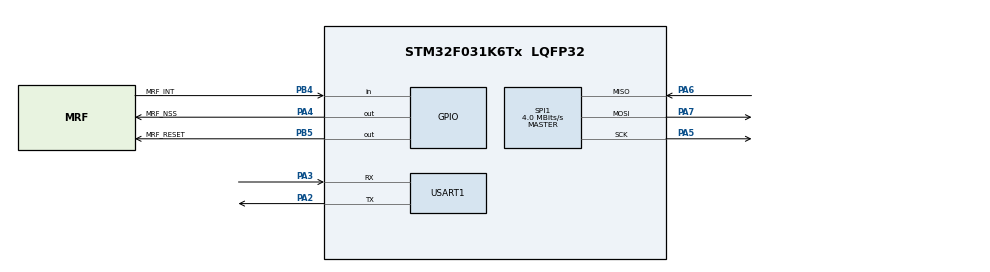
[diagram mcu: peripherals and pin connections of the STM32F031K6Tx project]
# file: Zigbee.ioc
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Mcu.Family=STM32F0
Mcu.Name=STM32F031K6Tx
Mcu.Package=LQFP32
PA2.Mode=Asynchronous
PA2.Signal=USART1_TX
PA3.Mode=Asynchronous
PA3.Signal=USART1_RX
PA4.GPIO_Label=MRF_NSS
PA4.GPIO_ModeDefaultOutputPP=GPIO_MODE_OUTPUT_PP
PA4.GPIO_PuPd=GPIO_PULLUP
PA4.GPIO_Speed=GPIO_SPEED_FREQ_LOW
PA4.PinState=GPIO_PIN_SET
PA4.Signal=GPIO_Output
PA5.Mode=Full_Duplex_Master
PA5.Signal=SPI1_SCK
PA6.Mode=Full_Duplex_Master
PA6.Signal=SPI1_MISO
PA7.Mode=Full_Duplex_Master
PA7.Signal=SPI1_MOSI
PB4.GPIO_Label=MRF_INT
PB4.GPIO_PuPd=GPIO_PULLUP
PB4.Signal=GPIO_Input
PB5.GPIO_Label=MRF_RESET
PB5.GPIO_PuPd=GPIO_PULLUP
PB5.PinState=GPIO_PIN_SET
PB5.Signal=GPIO_Output
ProjectManager.HeapSize=0x200
ProjectManager.StackSize=0x400
ProjectManager.TargetToolchain=STM32CubeIDE
SPI1.CalculateBaudRate=4.0 MBits/s
SPI1.DataSize=SPI_DATASIZE_8BIT
SPI1.Direction=SPI_DIRECTION_2LINES
SPI1.Mode=SPI_MODE_MASTER
SPI1.VirtualType=VM_MASTER
USART1.VirtualMode-Asynchronous=VM_ASYNC
board=custom

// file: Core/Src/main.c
/* USER CODE BEGIN Header */
/**
  ******************************************************************************
  * @file           : main.c
  * @brief          : Main program body
  ******************************************************************************
  * @attention
  *
  * <h2><center>&copy; Copyright (c) 2020 STMicroelectronics.
  * All rights reserved.</center></h2>
  *
  * This software component is licensed by ST under BSD 3-Clause license,
  * the "License"; You may not use this file except in compliance with the
  * License. You may obtain a copy of the License at:
  *                        opensource.org/licenses/BSD-3-Clause
  *
  ******************************************************************************
  */
/* USER CODE END Header */
#include "main.h"

/* USER CODE BEGIN Includes */
#include <stdio.h>
#include <strings.h>
#include <stdint.h>
#include "lib_mrf24j.h"
#include "retarget.h"
/* USER CODE END Includes */

SPI_HandleTypeDef hspi1;

UART_HandleTypeDef huart1;

void SystemClock_Config(void);
static void MX_GPIO_Init(void);
static void MX_SPI1_Init(void);
static void MX_USART1_UART_Init(void);

int main(void)
{

  /* MCU Configuration--------------------------------------------------------*/

  /* Reset of all peripherals, Initializes the Flash interface and the Systick. */
  HAL_Init();

  /* Configure the system clock */
  SystemClock_Config();

  /* Initialize all configured peripherals */
  MX_GPIO_Init();
  MX_SPI1_Init();
  MX_USART1_UART_Init();

  /* USER CODE BEGIN 2 */
  // Initializing the MRF radio
  RetargetInit(&huart1);
  printf("Starting up...");
  mrf_deselect();
  mrf_init();

  mrf_pan_write(PAN_ID);

  if (MODE == 0){
	  printf("set as transmitter...");
	  mrf_address16_write((uint16_t) DEVICE_ID);
  }
  else{
	  printf("set as receiver...");
	  mrf_address16_write(0x0001);
	  mrf_set_ignorebytes(2);
  }
  printf("done!\n");
  /* USER CODE END 2 */

  /* Infinite loop */
  /* USER CODE BEGIN WHILE */
  while (1){

	if (MODE == 0){
		mrf_send16(0xFFFF, 1, (char) DEVICE_ID); // Sending a packet with only the device ID as data
		HAL_Delay(1000);
	} else{
		mrf_check_flags(&handle_rx, &handle_tx); // Calling the radio to check if a packet has come in.
		_delay_ms(10);

		HAL_Delay(200);
	}
	mrf_check_flags(&handle_rx, &handle_tx);
	if (HAL_GPIO_ReadPin(MRF_INT_GPIO_Port, MRF_INT_Pin) == 0){
		mrf_interrupt_handler();
	}
}
    /* USER CODE END WHILE */

}

void SystemClock_Config(void)
{
  RCC_OscInitTypeDef RCC_OscInitStruct = {0};
  RCC_ClkInitTypeDef RCC_ClkInitStruct = {0};
  RCC_PeriphCLKInitTypeDef PeriphClkInit = {0};

  /** Initializes the RCC Oscillators according to the specified parameters
  * in the RCC_OscInitTypeDef structure.
  */
  RCC_OscInitStruct.OscillatorType = RCC_OSCILLATORTYPE_HSI;
  RCC_OscInitStruct.HSIState = RCC_HSI_ON;
  RCC_OscInitStruct.HSICalibrationValue = RCC_HSICALIBRATION_DEFAULT;
  RCC_OscInitStruct.PLL.PLLState = RCC_PLL_NONE;
  if (HAL_RCC_OscConfig(&RCC_OscInitStruct) != HAL_OK)
  {
    Error_Handler();
  }
  /** Initializes the CPU, AHB and APB buses clocks
  */
  RCC_ClkInitStruct.ClockType = RCC_CLOCKTYPE_HCLK|RCC_CLOCKTYPE_SYSCLK
                              |RCC_CLOCKTYPE_PCLK1;
  RCC_ClkInitStruct.SYSCLKSource = RCC_SYSCLKSOURCE_HSI;
  RCC_ClkInitStruct.AHBCLKDivider = RCC_SYSCLK_DIV1;
  RCC_ClkInitStruct.APB1CLKDivider = RCC_HCLK_DIV1;

  if (HAL_RCC_ClockConfig(&RCC_ClkInitStruct, FLASH_LATENCY_0) != HAL_OK)
  {
    Error_Handler();
  }
  PeriphClkInit.PeriphClockSelection = RCC_PERIPHCLK_USART1;
  PeriphClkInit.Usart1ClockSelection = RCC_USART1CLKSOURCE_PCLK1;
  if (HAL_RCCEx_PeriphCLKConfig(&PeriphClkInit) != HAL_OK)
  {
    Error_Handler();
  }
}

static void MX_SPI1_Init(void)
{

  /* SPI1 parameter configuration*/
  hspi1.Instance = SPI1;
  hspi1.Init.Mode = SPI_MODE_MASTER;
  hspi1.Init.Direction = SPI_DIRECTION_2LINES;
  hspi1.Init.DataSize = SPI_DATASIZE_8BIT;
  hspi1.Init.CLKPolarity = SPI_POLARITY_LOW;
  hspi1.Init.CLKPhase = SPI_PHASE_1EDGE;
  hspi1.Init.NSS = SPI_NSS_SOFT;
  hspi1.Init.BaudRatePrescaler = SPI_BAUDRATEPRESCALER_2;
  hspi1.Init.FirstBit = SPI_FIRSTBIT_MSB;
  hspi1.Init.TIMode = SPI_TIMODE_DISABLE;
  hspi1.Init.CRCCalculation = SPI_CRCCALCULATION_DISABLE;
  hspi1.Init.CRCPolynomial = 7;
  hspi1.Init.CRCLength = SPI_CRC_LENGTH_DATASIZE;
  hspi1.Init.NSSPMode = SPI_NSS_PULSE_ENABLE;
  if (HAL_SPI_Init(&hspi1) != HAL_OK)
  {
    Error_Handler();
  }

}

static void MX_USART1_UART_Init(void)
{

  huart1.Instance = USART1;
  huart1.Init.BaudRate = 38400;
  huart1.Init.WordLength = UART_WORDLENGTH_8B;
  huart1.Init.StopBits = UART_STOPBITS_1;
  huart1.Init.Parity = UART_PARITY_NONE;
  huart1.Init.Mode = UART_MODE_TX_RX;
  huart1.Init.HwFlowCtl = UART_HWCONTROL_NONE;
  huart1.Init.OverSampling = UART_OVERSAMPLING_16;
  huart1.Init.OneBitSampling = UART_ONE_BIT_SAMPLE_DISABLE;
  huart1.AdvancedInit.AdvFeatureInit = UART_ADVFEATURE_NO_INIT;
  if (HAL_UART_Init(&huart1) != HAL_OK)
  {
    Error_Handler();
  }

}

static void MX_GPIO_Init(void)
{
  GPIO_InitTypeDef GPIO_InitStruct = {0};

  /* GPIO Ports Clock Enable */
  __HAL_RCC_GPIOA_CLK_ENABLE();
  __HAL_RCC_GPIOB_CLK_ENABLE();

  /*Configure GPIO pin Output Level */
  HAL_GPIO_WritePin(MRF_NSS_GPIO_Port, MRF_NSS_Pin, GPIO_PIN_SET);

  /*Configure GPIO pin Output Level */
  HAL_GPIO_WritePin(MRF_RESET_GPIO_Port, MRF_RESET_Pin, GPIO_PIN_SET);

  /*Configure GPIO pin : MRF_NSS_Pin */
  GPIO_InitStruct.Pin = MRF_NSS_Pin;
  GPIO_InitStruct.Mode = GPIO_MODE_OUTPUT_PP;
  GPIO_InitStruct.Pull = GPIO_PULLUP;
  GPIO_InitStruct.Speed = GPIO_SPEED_FREQ_LOW;
  HAL_GPIO_Init(MRF_NSS_GPIO_Port, &GPIO_InitStruct);

  /*Configure GPIO pin : MRF_INT_Pin */
  GPIO_InitStruct.Pin = MRF_INT_Pin;
  GPIO_InitStruct.Mode = GPIO_MODE_INPUT;
  GPIO_InitStruct.Pull = GPIO_PULLUP;
  HAL_GPIO_Init(MRF_INT_GPIO_Port, &GPIO_InitStruct);

  /*Configure GPIO pin : MRF_RESET_Pin */
  GPIO_InitStruct.Pin = MRF_RESET_Pin;
  GPIO_InitStruct.Mode = GPIO_MODE_OUTPUT_PP;
  GPIO_InitStruct.Pull = GPIO_PULLUP;
  GPIO_InitStruct.Speed = GPIO_SPEED_FREQ_LOW;
  HAL_GPIO_Init(MRF_RESET_GPIO_Port, &GPIO_InitStruct);

}

/* USER CODE BEGIN 4 */
//void HAL_GPIO_EXTI_Callback(uint16_t GPIO_Pin){
//
//	__disable_irq();
//	HAL_Delay(1000);
//	serial_print("Interrupted");
//	mrf_interrupt_handler();
//	__enable_irq();
//}

void handle_rx(mrf_rx_info_t *rxinfo, uint8_t *rx_buffer) {
    printf("Sender %s. RSSI = %d\n", rx_buffer,rxinfo->rssi);
    //This only runs when a packet is successfully received.
}

void handle_tx(mrf_tx_info_t *txinfo) {
	//This only runs when a packet is successfully placed in the transmit registers.
	//NB: Changes were made to the lib_mrf24j library to send data with no acknowledgments.
	if (txinfo->tx_ok) {
        printf("Sent message!\n");
    } else {
        printf("TX failed after %d retries\n", txinfo->retries);
    }
}

void mrf_reset(){
	// Hard MRF Reset
	HAL_GPIO_WritePin(MRF_RESET_GPIO_Port, MRF_RESET_Pin, 0);
	_delay_ms(10);
	HAL_GPIO_WritePin(MRF_RESET_GPIO_Port, MRF_RESET_Pin, 1);
	_delay_ms(20);
}

void mrf_select(void){
  HAL_GPIO_WritePin(MRF_NSS_GPIO_Port, MRF_NSS_Pin, 0);
}

void mrf_deselect(void){
	HAL_GPIO_WritePin(MRF_NSS_GPIO_Port, MRF_NSS_Pin, 1);
}

uint8_t spi_tx(uint8_t cData){
	uint8_t buff;
	HAL_SPI_TransmitReceive(&hspi1, &cData, &buff, sizeof(buff), 100);
	return buff;
}

void _delay_ms(int t){
  HAL_Delay(t);
}

/* USER CODE END 4 */

void Error_Handler(void)
{
}

/************************ (C) COPYRIGHT STMicroelectronics *****END OF FILE****/
